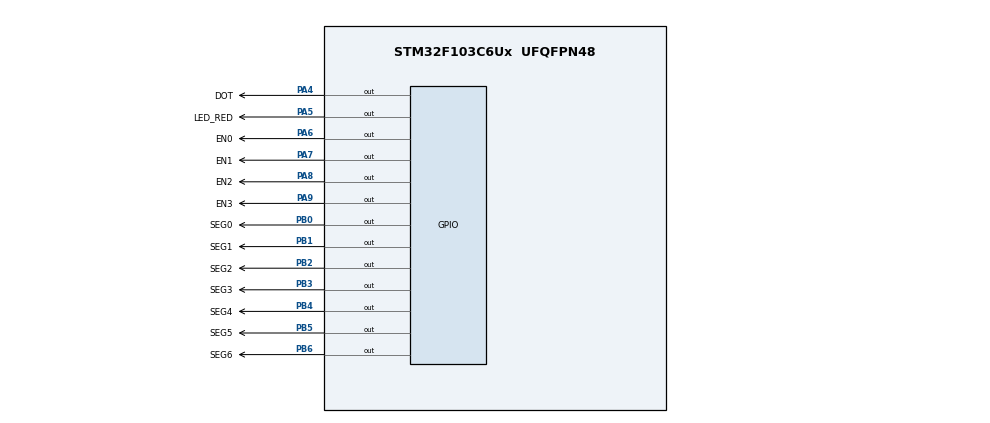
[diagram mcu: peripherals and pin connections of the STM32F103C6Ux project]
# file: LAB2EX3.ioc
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Mcu.Family=STM32F1
Mcu.Name=STM32F103C6Ux
Mcu.Package=UFQFPN48
NVIC.PriorityGroup=NVIC_PRIORITYGROUP_4
NVIC.TIM2_IRQn=true\:0\:0\:false\:false\:true\:true\:true
PA4.GPIO_Label=DOT
PA4.Signal=GPIO_Output
PA5.GPIO_Label=LED_RED
PA5.Signal=GPIO_Output
PA6.GPIO_Label=EN0
PA6.Signal=GPIO_Output
PA7.GPIO_Label=EN1
PA7.Signal=GPIO_Output
PA8.GPIO_Label=EN2
PA8.Signal=GPIO_Output
PA9.GPIO_Label=EN3
PA9.Signal=GPIO_Output
PB0.GPIO_Label=SEG0
PB0.Signal=GPIO_Output
PB1.GPIO_Label=SEG1
PB1.Signal=GPIO_Output
PB2.GPIO_Label=SEG2
PB2.Signal=GPIO_Output
PB3.GPIO_Label=SEG3
PB3.Signal=GPIO_Output
PB4.GPIO_Label=SEG4
PB4.Signal=GPIO_Output
PB5.GPIO_Label=SEG5
PB5.Signal=GPIO_Output
PB6.GPIO_Label=SEG6
PB6.Signal=GPIO_Output
ProjectManager.HeapSize=0x200
ProjectManager.StackSize=0x400
ProjectManager.TargetToolchain=STM32CubeIDE
RCC.APB1Freq_Value=8000000
RCC.APB2Freq_Value=8000000
TIM2.Period=9
TIM2.Prescaler=7999
VP_SYS_VS_ND.Mode=No_Debug
VP_TIM2_VS_ClockSourceINT.Mode=Internal
board=custom

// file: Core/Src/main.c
/* USER CODE BEGIN Header */
/**
  ******************************************************************************
  * @file           : main.c
  * @brief          : Main program body
  ******************************************************************************
  * @attention
  *
  * <h2><center>&copy; Copyright (c) 2025 STMicroelectronics.
  * All rights reserved.</center></h2>
  *
  * This software component is licensed by ST under BSD 3-Clause license,
  * the "License"; You may not use this file except in compliance with the
  * License. You may obtain a copy of the License at:
  *                        opensource.org/licenses/BSD-3-Clause
  *
  ******************************************************************************
  */
/* USER CODE END Header */
#include "main.h"

TIM_HandleTypeDef htim2;

/* USER CODE BEGIN PV */

static const uint8_t segmap[10] = {
  0b1111110, // 0
  0b0110000, // 1
  0b1101101, // 2
  0b1111001, // 3
  0b0110011, // 4
  0b1011011, // 5
  0b1011111, // 6
  0b1110000, // 7
  0b1111111, // 8
  0b1111011  // 9
};

#define SEG_ON  GPIO_PIN_RESET
#define SEG_OFF GPIO_PIN_SET

static inline void write_segments(uint8_t m) {
  HAL_GPIO_WritePin(SEG6_GPIO_Port, SEG6_Pin, (m & (1<<0)) ? SEG_ON : SEG_OFF); // a
  HAL_GPIO_WritePin(SEG5_GPIO_Port, SEG5_Pin, (m & (1<<1)) ? SEG_ON : SEG_OFF); // b
  HAL_GPIO_WritePin(SEG4_GPIO_Port, SEG4_Pin, (m & (1<<2)) ? SEG_ON : SEG_OFF); // c
  HAL_GPIO_WritePin(SEG3_GPIO_Port, SEG3_Pin, (m & (1<<3)) ? SEG_ON : SEG_OFF); // d
  HAL_GPIO_WritePin(SEG2_GPIO_Port, SEG2_Pin, (m & (1<<4)) ? SEG_ON : SEG_OFF); // e
  HAL_GPIO_WritePin(SEG1_GPIO_Port, SEG1_Pin, (m & (1<<5)) ? SEG_ON : SEG_OFF); // f
  HAL_GPIO_WritePin(SEG0_GPIO_Port, SEG0_Pin, (m & (1<<6)) ? SEG_ON : SEG_OFF); // g
}

void display7SEG(int num) {
  if (num < 0 || num > 9) num = 0;
  write_segments(segmap[num]);
}

#define MAX_LED            4
#define DIG_HOLD_TICKS     50

static volatile uint16_t tick1s = 0;
static volatile uint16_t scanCnt = 0;
static volatile uint8_t  index_led = 0;

static int8_t led_buffer[MAX_LED] = {1, 2, 3, 4};

/* USER CODE END PV */

void SystemClock_Config(void);
static void MX_GPIO_Init(void);
static void MX_TIM2_Init(void);

/* USER CODE BEGIN 0 */
// PNP active-LOW enables
static inline void enable_EN0(void){
  HAL_GPIO_WritePin(EN0_GPIO_Port, EN0_Pin, GPIO_PIN_RESET);
  HAL_GPIO_WritePin(EN1_GPIO_Port, EN1_Pin, GPIO_PIN_SET);
  HAL_GPIO_WritePin(EN2_GPIO_Port, EN2_Pin, GPIO_PIN_SET);
  HAL_GPIO_WritePin(EN3_GPIO_Port, EN3_Pin, GPIO_PIN_SET);
}
static inline void enable_EN1(void){
  HAL_GPIO_WritePin(EN0_GPIO_Port, EN0_Pin, GPIO_PIN_SET);
  HAL_GPIO_WritePin(EN1_GPIO_Port, EN1_Pin, GPIO_PIN_RESET);
  HAL_GPIO_WritePin(EN2_GPIO_Port, EN2_Pin, GPIO_PIN_SET);
  HAL_GPIO_WritePin(EN3_GPIO_Port, EN3_Pin, GPIO_PIN_SET);
}
static inline void enable_EN2(void){
  HAL_GPIO_WritePin(EN0_GPIO_Port, EN0_Pin, GPIO_PIN_SET);
  HAL_GPIO_WritePin(EN1_GPIO_Port, EN1_Pin, GPIO_PIN_SET);
  HAL_GPIO_WritePin(EN2_GPIO_Port, EN2_Pin, GPIO_PIN_RESET); // PA8
  HAL_GPIO_WritePin(EN3_GPIO_Port, EN3_Pin, GPIO_PIN_SET);
}
static inline void enable_EN3(void){
  HAL_GPIO_WritePin(EN0_GPIO_Port, EN0_Pin, GPIO_PIN_SET);
  HAL_GPIO_WritePin(EN1_GPIO_Port, EN1_Pin, GPIO_PIN_SET);
  HAL_GPIO_WritePin(EN2_GPIO_Port, EN2_Pin, GPIO_PIN_SET);
  HAL_GPIO_WritePin(EN3_GPIO_Port, EN3_Pin, GPIO_PIN_RESET); // PA9
}
static inline void disable_all_digits(void){
  HAL_GPIO_WritePin(EN0_GPIO_Port, EN0_Pin, GPIO_PIN_SET);
  HAL_GPIO_WritePin(EN1_GPIO_Port, EN1_Pin, GPIO_PIN_SET);
  HAL_GPIO_WritePin(EN2_GPIO_Port, EN2_Pin, GPIO_PIN_SET);
  HAL_GPIO_WritePin(EN3_GPIO_Port, EN3_Pin, GPIO_PIN_SET);
}

void update7SEG(int index){
  if (index < 0 || index >= MAX_LED) return;

  if (led_buffer[index] < 0) {

    extern void write_segments(uint8_t mask);
    write_segments(0);
    disable_all_digits();
    return;
  }

  display7SEG(led_buffer[index]);

  switch(index){
    case 0: enable_EN0(); break;
    case 1: enable_EN1(); break;
    case 2: enable_EN2(); break;
    default: enable_EN3(); break;
  }
}
/* USER CODE END 0 */

int main(void)
{

  /* MCU Configuration--------------------------------------------------------*/

  /* Reset of all peripherals, Initializes the Flash interface and the Systick. */
  HAL_Init();

  /* Configure the system clock */
  SystemClock_Config();

  /* Initialize all configured peripherals */
  MX_GPIO_Init();
  MX_TIM2_Init();
  /* USER CODE BEGIN 2 */
  HAL_TIM_Base_Start_IT(&htim2);
  /* USER CODE END 2 */

  /* Infinite loop */
  while (1)
  {

  }
}

void SystemClock_Config(void)
{
  RCC_OscInitTypeDef RCC_OscInitStruct = {0};
  RCC_ClkInitTypeDef RCC_ClkInitStruct = {0};

  /** Initializes the RCC Oscillators according to the specified parameters
  * in the RCC_OscInitTypeDef structure.
  */
  RCC_OscInitStruct.OscillatorType = RCC_OSCILLATORTYPE_HSI;
  RCC_OscInitStruct.HSIState = RCC_HSI_ON;
  RCC_OscInitStruct.HSICalibrationValue = RCC_HSICALIBRATION_DEFAULT;
  RCC_OscInitStruct.PLL.PLLState = RCC_PLL_NONE;
  if (HAL_RCC_OscConfig(&RCC_OscInitStruct) != HAL_OK)
  {
    Error_Handler();
  }
  /** Initializes the CPU, AHB and APB buses clocks
  */
  RCC_ClkInitStruct.ClockType = RCC_CLOCKTYPE_HCLK|RCC_CLOCKTYPE_SYSCLK
                              |RCC_CLOCKTYPE_PCLK1|RCC_CLOCKTYPE_PCLK2;
  RCC_ClkInitStruct.SYSCLKSource = RCC_SYSCLKSOURCE_HSI;
  RCC_ClkInitStruct.AHBCLKDivider = RCC_SYSCLK_DIV1;
  RCC_ClkInitStruct.APB1CLKDivider = RCC_HCLK_DIV1;
  RCC_ClkInitStruct.APB2CLKDivider = RCC_HCLK_DIV1;

  if (HAL_RCC_ClockConfig(&RCC_ClkInitStruct, FLASH_LATENCY_0) != HAL_OK)
  {
    Error_Handler();
  }
}

static void MX_TIM2_Init(void)
{

  TIM_ClockConfigTypeDef sClockSourceConfig = {0};
  TIM_MasterConfigTypeDef sMasterConfig = {0};

  htim2.Instance = TIM2;
  htim2.Init.Prescaler = 7999;
  htim2.Init.CounterMode = TIM_COUNTERMODE_UP;
  htim2.Init.Period = 9;
  htim2.Init.ClockDivision = TIM_CLOCKDIVISION_DIV1;
  htim2.Init.AutoReloadPreload = TIM_AUTORELOAD_PRELOAD_DISABLE;
  if (HAL_TIM_Base_Init(&htim2) != HAL_OK)
  {
    Error_Handler();
  }
  sClockSourceConfig.ClockSource = TIM_CLOCKSOURCE_INTERNAL;
  if (HAL_TIM_ConfigClockSource(&htim2, &sClockSourceConfig) != HAL_OK)
  {
    Error_Handler();
  }
  sMasterConfig.MasterOutputTrigger = TIM_TRGO_RESET;
  sMasterConfig.MasterSlaveMode = TIM_MASTERSLAVEMODE_DISABLE;
  if (HAL_TIMEx_MasterConfigSynchronization(&htim2, &sMasterConfig) != HAL_OK)
  {
    Error_Handler();
  }

}

static void MX_GPIO_Init(void)
{
  GPIO_InitTypeDef GPIO_InitStruct = {0};

  /* GPIO Ports Clock Enable */
  __HAL_RCC_GPIOA_CLK_ENABLE();
  __HAL_RCC_GPIOB_CLK_ENABLE();

  /*Configure GPIO pin Output Level */
  HAL_GPIO_WritePin(GPIOA, DOT_Pin|LED_RED_Pin|EN0_Pin|EN1_Pin
                          |EN2_Pin|EN3_Pin, GPIO_PIN_RESET);

  /*Configure GPIO pin Output Level */
  HAL_GPIO_WritePin(GPIOB, SEG0_Pin|SEG1_Pin|SEG2_Pin|SEG3_Pin
                          |SEG4_Pin|SEG5_Pin|SEG6_Pin, GPIO_PIN_RESET);

  /*Configure GPIO pins : DOT_Pin LED_RED_Pin EN0_Pin EN1_Pin
                           EN2_Pin EN3_Pin */
  GPIO_InitStruct.Pin = DOT_Pin|LED_RED_Pin|EN0_Pin|EN1_Pin
                          |EN2_Pin|EN3_Pin;
  GPIO_InitStruct.Mode = GPIO_MODE_OUTPUT_PP;
  GPIO_InitStruct.Pull = GPIO_NOPULL;
  GPIO_InitStruct.Speed = GPIO_SPEED_FREQ_LOW;
  HAL_GPIO_Init(GPIOA, &GPIO_InitStruct);

  /*Configure GPIO pins : SEG0_Pin SEG1_Pin SEG2_Pin SEG3_Pin
                           SEG4_Pin SEG5_Pin SEG6_Pin */
  GPIO_InitStruct.Pin = SEG0_Pin|SEG1_Pin|SEG2_Pin|SEG3_Pin
                          |SEG4_Pin|SEG5_Pin|SEG6_Pin;
  GPIO_InitStruct.Mode = GPIO_MODE_OUTPUT_PP;
  GPIO_InitStruct.Pull = GPIO_NOPULL;
  GPIO_InitStruct.Speed = GPIO_SPEED_FREQ_LOW;
  HAL_GPIO_Init(GPIOB, &GPIO_InitStruct);

}

/* USER CODE BEGIN 4 */
void HAL_TIM_PeriodElapsedCallback(TIM_HandleTypeDef *htim){
  if (htim->Instance == TIM2){

    if (++tick1s >= 100){
      tick1s = 0;
      HAL_GPIO_TogglePin(LED_RED_GPIO_Port, LED_RED_Pin);
      HAL_GPIO_TogglePin(DOT_GPIO_Port, DOT_Pin);
    }

    if (++scanCnt >= DIG_HOLD_TICKS){
      scanCnt = 0;
      index_led = (index_led + 1) & 0x03;
    }

    update7SEG(index_led);
  }
}
/* USER CODE END 4 */

void Error_Handler(void)
{
  __disable_irq();
  while (1)
  {
  }
}

/************************ (C) COPYRIGHT STMicroelectronics *****END OF FILE****/
